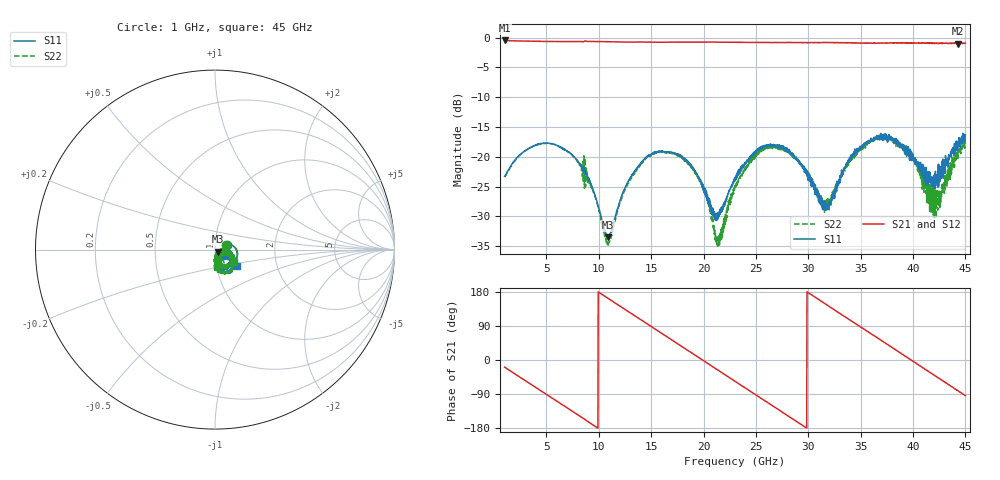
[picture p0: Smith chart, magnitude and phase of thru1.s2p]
!Keysight Technologies,N5247B,MY61255062,A.19.80.06
!Date: Thursday, May 21, 2026 12:21:06
!Correction: S11(Cdelta 2-Port  )
!S21(Cdelta 2-Port  )
!S12(Cdelta 2-Port  )
!S22(Cdelta 2-Port  )
!S2P File: Measurements: S11, S21, S12, S22:
# Hz S  dB  R 50
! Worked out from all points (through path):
!   1601 points, 1 GHz to 45 GHz, reference 50 ohm
!   highest |S21| = -0.47 dB at 1 GHz (marker M1); lowest = -1.0 dB at 44.26 GHz (marker M2)
!   group delay of S21, straight-line fit = 50.2 ps
!   lowest |S11| = -33.5 dB at 10.85 GHz (marker M3), VSWR 1.04, Z = 51.7 - j1.28 ohm
!   |S11| at or under -10 dB: start of sweep to end of sweep
!   |S22| runs from -35.0 to -16.3 dB; largest |S21 - S12| = 0.014
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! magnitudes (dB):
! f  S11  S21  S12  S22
! 1 GHz  -23.3  -0.5  -0.5  -23.4
! 4.795 GHz  -17.7  -0.6  -0.6  -17.8
! 8.342 GHz  -21.6  -0.7  -0.7  -22.3
! 9.443 GHz  -25.5  -0.6  -0.7  -25.8
! 10.85 GHz  -33.5  -0.7  -0.7  -34.3
! 12.91 GHz  -23.9  -0.7  -0.8  -24.2
! 15.69 GHz  -19.2  -0.8  -0.8  -19.3
! 19.15 GHz  -22.5  -0.8  -0.8  -22.7
! 20.22 GHz  -26.5  -0.8  -0.8  -26.8
! 21.32 GHz  -30.6  -0.8  -0.8  -33.8
! 23 GHz  -23.7  -0.8  -0.8  -24.9
! 24.82 GHz  -19.5  -0.8  -0.8  -20.4
! 26.3 GHz  -18.1  -0.8  -0.8  -18.6
! 28.28 GHz  -19.5  -0.8  -0.8  -19.6
! 30.34 GHz  -25.0  -0.8  -0.8  -24.1
! 31.8 GHz  -28.1  -0.8  -0.8  -28.7
! 34.22 GHz  -20.1  -0.9  -0.9  -20.1
! 37.69 GHz  -16.9  -0.9  -0.9  -17.0
! 39.72 GHz  -19.6  -0.9  -0.9  -19.4
! 42.17 GHz  -24.0  -1.0  -1.0  -25.7
! 44.26 GHz  -19.0  -1.0  -1.0  -19.3
! 45 GHz  -16.4  -0.9  -1.0  -17.8
